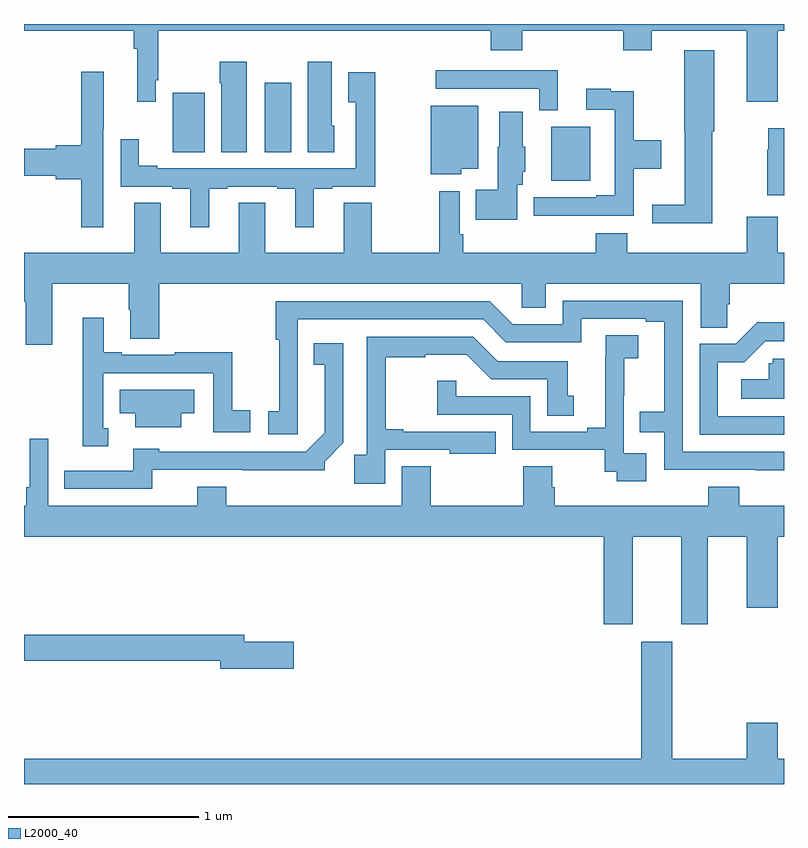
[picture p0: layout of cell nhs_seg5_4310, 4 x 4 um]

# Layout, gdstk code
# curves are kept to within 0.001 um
import gdstk
lib = gdstk.Library(unit=1e-6, precision=1e-09)
def R(c, l, rs):  # rectangles x0, y0, x1, y1
    for r in rs: c.add(gdstk.rectangle(r[:2], r[2:], *l))
def P(c, l, *ps):  # polygons
    for p in ps: c.add(gdstk.Polygon(p, *l))
L2000_40 = (2000, 40)

nhs_seg5_4310 = lib.new_cell('nhs_seg5_4310')
R(nhs_seg5_4310, L2000_40, [(367.775,851.975,367.981,852.259), (365.783,852.124,365.95,852.436), (366.266,852.124,366.406,852.49)])
P(nhs_seg5_4310, L2000_40, [(365,852.764),(365.578,852.764),(365.578,852.668),(365.597,852.668),(365.597,852.39),(365.694,852.39),(365.694,852.502),(365.707,852.502),(365.707,852.764),(367.457,852.764),(367.457,852.662),(367.622,852.662),(367.622,852.764),(368.153,852.764),(368.153,852.662),(368.305,852.662),(368.305,852.764),(368.804,852.764),(368.804,852.39),(368.968,852.39),(368.968,852.764),(369,852.764),(369,852.799),(365,852.799)],
  [(368.622,852.234),(368.632,852.234),(368.632,852.661),(368.474,852.661),(368.474,852.234),(368.477,852.234),(368.477,851.849),(368.307,851.849),(368.307,851.75),(368.622,851.75)],
  [(366.634,852.264),(366.619,852.264),(366.619,852.601),(366.494,852.601),(366.494,852.124),(366.634,852.124)],
  [(366.172,852.601),(366.031,852.601),(366.031,852.488),(366.038,852.488),(366.038,852.124),(366.172,852.124)],
  [(367.81,852.555),(367.167,852.555),(367.167,852.459),(367.713,852.459),(367.713,852.344),(367.81,852.344)],
  [(365.418,852.244),(365.42,852.244),(365.42,852.547),(365.302,852.547),(365.302,852.161),(365.166,852.161),(365.166,852.143),(365,852.143),(365,852.001),(365.166,852.001),(365.166,851.983),(365.302,851.983),(365.302,851.73),(365.418,851.73)],
  [(365.974,851.931),(366.07,851.931),(366.07,851.943),(366.332,851.943),(366.332,851.931),(366.428,851.931),(366.428,851.73),(366.526,851.73),(366.526,851.931),(366.622,851.931),(366.622,851.943),(366.848,851.943),(366.848,852.544),(366.707,852.544),(366.707,852.388),(366.747,852.388),(366.747,852.039),(365.701,852.039),(365.701,852.052),(365.605,852.052),(365.605,852.193),(365.508,852.193),(365.508,851.943),(365.78,851.943),(365.78,851.931),(365.876,851.931),(365.876,851.73),(365.974,851.73)],
  [(367.925,851.79),(368.21,851.79),(368.21,852.038),(368.353,852.038),(368.353,852.186),(368.21,852.186),(368.21,852.446),(368.087,852.446),(368.087,852.457),(367.959,852.457),(367.959,852.348),(368.109,852.348),(368.109,851.899),(368.012,851.899),(368.012,851.886),(367.683,851.886),(367.683,851.789),(367.925,851.789)],
  [(367.3,852.038),(367.39,852.038),(367.39,852.37),(367.142,852.37),(367.142,852.008),(367.3,852.008)],
  [(367.597,851.952),(367.624,851.952),(367.624,852.021),(367.639,852.021),(367.639,852.153),(367.624,852.153),(367.624,852.337),(367.502,852.337),(367.502,852.153),(367.493,852.153),(367.493,851.926),(367.378,851.926),(367.378,851.768),(367.597,851.768)],
  [(369,852.25),(368.918,852.25),(368.918,852.137),(368.911,852.137),(368.911,851.898),(369,851.898)],
  [(368.804,851.785),(368.804,851.596),(368.174,851.596),(368.174,851.698),(368.009,851.698),(368.009,851.596),(367.313,851.596),(367.313,851.692),(367.293,851.692),(367.293,851.92),(367.185,851.92),(367.185,851.596),(366.831,851.596),(366.831,851.858),(366.683,851.858),(366.683,851.596),(366.271,851.596),(366.271,851.858),(366.131,851.858),(366.131,851.596),(365.719,851.596),(365.719,851.858),(365.579,851.858),(365.579,851.596),(365,851.596),(365,851.336),(365.009,851.336),(365.009,851.112),(365.149,851.112),(365.149,851.432),(365.551,851.432),(365.551,851.294),(365.558,851.294),(365.558,851.143),(365.711,851.143),(365.711,851.432),(367.62,851.432),(367.62,851.305),(367.747,851.305),(367.747,851.432),(368.561,851.432),(368.561,851.2),(368.7,851.2),(368.7,851.323),(368.714,851.323),(368.714,851.432),(369,851.432),(369,851.596),(368.968,851.596),(368.968,851.785)],
  [(369,850.548),(368.466,850.548),(368.466,851.343),(367.836,851.343),(367.836,851.22),(367.572,851.22),(367.452,851.34),(366.325,851.34),(366.325,851.137),(366.343,851.137),(366.343,850.761),(366.285,850.761),(366.285,850.641),(366.442,850.641),(366.441,851.244),(367.416,851.244),(367.536,851.124),(367.932,851.124),(367.932,851.247),(368.273,851.247),(368.273,851.232),(368.369,851.232),(368.369,850.759),(368.242,850.759),(368.242,850.65),(368.37,850.65),(368.37,850.452),(369,850.451)],
  [(365.443,850.671),(365.418,850.671),(365.418,850.962),(365.997,850.962),(365.997,850.65),(366.19,850.65),(366.19,850.766),(366.096,850.766),(366.096,851.071),(365.794,851.071),(365.794,851.058),(365.515,851.058),(365.515,851.071),(365.419,851.071),(365.419,851.254),(365.309,851.254),(365.309,851.009),(365.31,851.009),(365.31,850.577),(365.443,850.577)],
  [(369,850.734),(368.652,850.734),(368.652,851.019),(368.79,851.019),(368.901,851.13),(369,851.13),(369,851.228),(368.858,851.228),(368.745,851.115),(368.556,851.115),(368.556,850.638),(369,850.638)],
  [(368.275,850.539),(368.157,850.539),(368.157,850.843),(368.159,850.843),(368.159,851.041),(368.233,851.041),(368.233,851.162),(368.062,851.162),(368.062,851.051),(368.06,851.051),(368.06,850.673),(367.964,850.673),(367.964,850.653),(367.665,850.653),(367.665,850.839),(367.275,850.839),(367.275,850.921),(367.174,850.921),(367.174,850.743),(367.569,850.743),(367.569,850.557),(368.056,850.557),(368.056,850.443),(368.119,850.443),(368.119,850.392),(368.275,850.392)],
  [(366.9,850.557),(367.241,850.557),(367.241,850.538),(367.484,850.538),(367.484,850.653),(366.997,850.653),(366.997,850.666),(366.905,850.666),(366.905,851.046),(367.112,851.046),(367.112,851.057),(367.33,851.057),(367.458,850.929),(367.754,850.929),(367.754,850.738),(367.894,850.738),(367.894,850.842),(367.861,850.842),(367.861,851.025),(367.494,851.025),(367.365,851.154),(366.804,851.154),(366.804,850.531),(366.739,850.531),(366.739,850.38),(366.9,850.38)],
  [(365.676,850.452),(366.582,850.451),(366.582,850.495),(366.681,850.594),(366.681,851.119),(366.526,851.119),(366.526,851.006),(366.584,851.006),(366.584,850.649),(366.483,850.548),(365.712,850.548),(365.712,850.564),(365.576,850.564),(365.576,850.449),(365.212,850.449),(365.212,850.353),(365.676,850.353)],
  [(369,851.037),(368.94,851.037),(368.94,851.013),(368.919,851.013),(368.919,850.93),(368.775,850.93),(368.775,850.826),(369,850.826)],
  [(365.827,850.751),(365.896,850.751),(365.896,850.873),(365.503,850.873),(365.503,850.751),(365.585,850.751),(365.585,850.676),(365.827,850.676)],
  [(368.765,850.363),(368.6,850.363),(368.6,850.264),(367.793,850.264),(367.793,850.362),(367.78,850.362),(367.78,850.472),(367.628,850.472),(367.628,850.264),(367.142,850.264),(367.142,850.472),(366.989,850.472),(366.989,850.264),(366.065,850.264),(366.065,850.363),(365.912,850.363),(365.912,850.264),(365.127,850.264),(365.127,850.615),(365.03,850.615),(365.03,850.36),(365.011,850.36),(365.011,850.264),(365,850.264),(365,850.1),(368.051,850.1),(368.051,849.639),(368.203,849.639),(368.203,850.1),(368.459,850.1),(368.459,849.639),(368.599,849.639),(368.599,850.1),(368.804,850.1),(368.804,849.726),(368.968,849.726),(368.968,850.1),(369,850.1),(369,850.264),(368.765,850.264)],
  [(366.421,849.548),(366.16,849.548),(366.16,849.584),(365,849.584),(365,849.448),(366.032,849.448),(366.032,849.406),(366.421,849.406)],
  [(369,848.932),(368.968,848.932),(368.968,849.121),(368.804,849.121),(368.804,848.932),(368.413,848.932),(368.413,849.547),(368.249,849.547),(368.249,848.932),(365,848.932),(365,848.799),(369,848.799)])

lib.write_gds('nhs_seg5_4310.gds')
